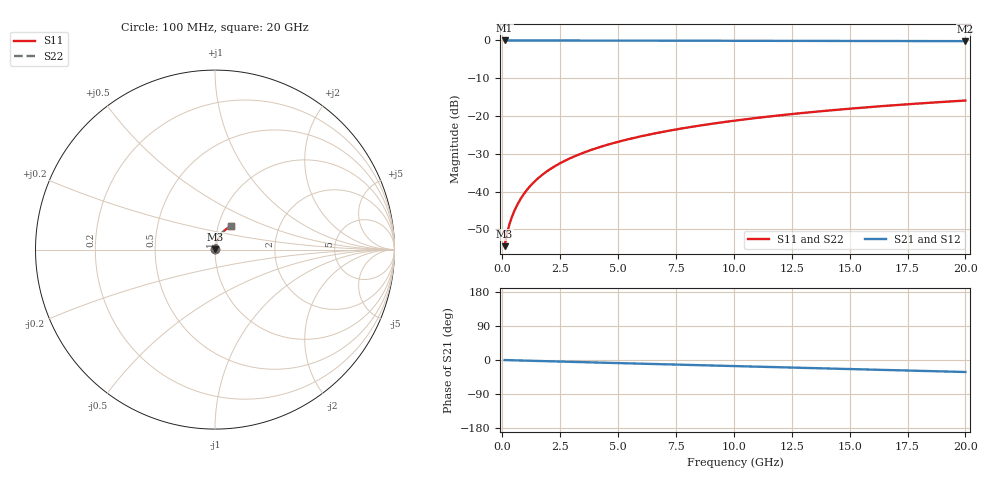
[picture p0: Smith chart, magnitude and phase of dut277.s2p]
! Touchstone file exported from HFSS 2026.1.0
!  File:  C:/ffzhzh/LocalFiles/Ansys_Project_Files/temp_train_BSMRDL_277_1782989035_6248.aedt
!  Generated:  06:45:10 PM Jul  2, 2026
!  Design:  BSMRDL
!  Project:  temp_train_BSMRDL_277_1782989035_6248
! Variables:
!  h_bsmrdl = 5.14um
!  h_ox = 20um
!  h_rdl = 5um
!  h_sub = 80um
!  h_tmrdl = 5um
!  h_tsv = 80um
!  h_via = 3um
!  l_bsmrdl = 519.76um
!  l_sub = 919.76um
!  l_tmrdl = 200um
!  m_sub = 200um
!  pitch = 43.33um
!  r_tsv = 6um
!  s_tmrdl = 10um
!  w_bsmrdl = 29.7um
!  w_sub = 500um
!  w_tmrdl = 12um
!  x_tsv_center1 = 206um
!  x_tsv_center2 = 755.46um
!  x_tsv_center3 = 967.46um
!  x_tsv_center4 = 1516.92um
!  x_tsv_center5 = 1728.92um
!  x_tsv_center6 = 2278.38um
# GHz S MA R 50.000000
! Terminal data exported
! Port[1] = BSM_RDL1_1_T1
! Port[2] = BSM_RDL1_1_T2
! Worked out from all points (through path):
!   200 points, 100 MHz to 20 GHz, reference 50 ohm
!   highest |S21| = -0.01 dB at 100 MHz (marker M1); lowest = -0.2 dB at 20 GHz (marker M2)
!   group delay of S21, straight-line fit = 4.38 ps
!   lowest |S11| = -54.5 dB at 100 MHz (marker M3), VSWR 1.00, Z = 50.1 + j0.12 ohm
!   |S11| at or under -10 dB: start of sweep to end of sweep
!   |S22| runs from -54.5 to -15.9 dB; largest |S21 - S12| = 2e-15
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0.1  0.001894 39.3  0.9985 -0.2  0.9985 -0.2  0.001894 39.3
! Gamma 0 0 0 0
! Port Impedance 50 0 50 0
0.2  0.002766 53.1  0.9983 -0.3  0.9983 -0.3  0.002766 53.1
0.3  0.003619 60.2  0.9982 -0.5  0.9982 -0.5  0.003619 60.2
0.4  0.004479 65.0  0.9981 -0.7  0.9981 -0.7  0.004479 65.0
0.5  0.005356 68.4  0.9981 -0.8  0.9981 -0.8  0.005356 68.4
0.6  0.006251 70.9  0.998 -1.0  0.998 -1.0  0.006251 70.9
0.8  0.008074 74.1  0.9979 -1.3  0.9979 -1.3  0.008074 74.1
1.1  0.01085 76.7  0.9978 -1.8  0.9978 -1.8  0.01085 76.7
1.3  0.01271 77.6  0.9977 -2.2  0.9977 -2.2  0.01271 77.6
1.6  0.01549 78.4  0.9975 -2.7  0.9975 -2.7  0.01549 78.4
2.1  0.02009 78.8  0.9971 -3.5  0.9971 -3.5  0.02009 78.7
2.7  0.02552 78.5  0.9966 -4.4  0.9966 -4.4  0.02552 78.5
3.5  0.03261 77.8  0.9958 -5.7  0.9958 -5.7  0.03261 77.8
4.2  0.03869 77.0  0.9951 -6.9  0.9951 -6.9  0.03869 77.0
5  0.04552 76.1  0.9944 -8.1  0.9944 -8.1  0.04552 76.0
5.9  0.05309 74.9  0.9935 -9.6  0.9935 -9.6  0.0531 74.9
6.8  0.06057 73.8  0.9926 -11.0  0.9926 -11.0  0.06057 73.7
8.3  0.07283 71.8  0.9912 -13.4  0.9912 -13.4  0.07283 71.7
10.1  0.08726 69.3  0.9893 -16.2  0.9893 -16.2  0.08726 69.3
13.4  0.1129 64.7  0.9858 -21.4  0.9858 -21.4  0.1129 64.6
16.7  0.1372 59.9  0.9818 -26.5  0.9818 -26.5  0.1372 59.8
20  0.1602 55.1  0.9777 -31.6  0.9777 -31.6  0.1602 55.0
